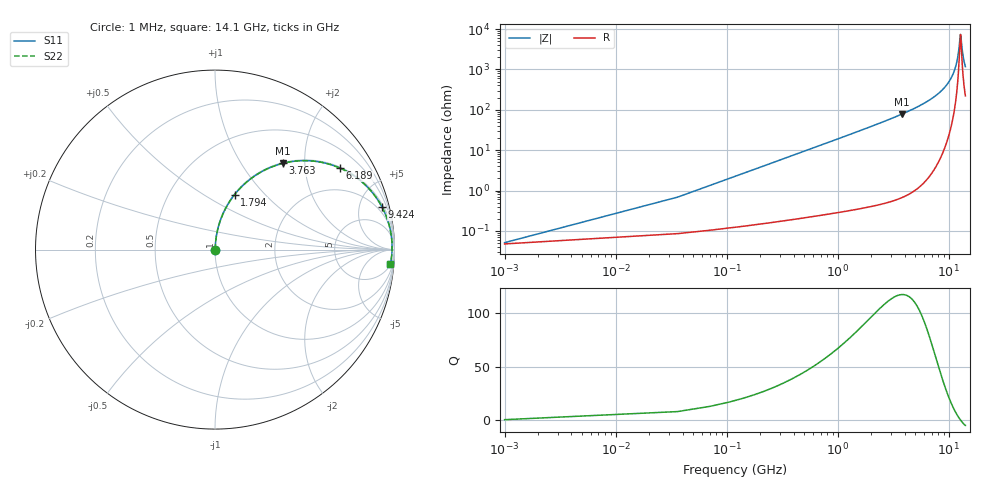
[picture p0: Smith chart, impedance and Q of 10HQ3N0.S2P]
! Coilcraft 1008HQ-3N0 Chip Inductor
! 10 July 2002
# MHZ S MA R 50
!Freq  MagS11  AngS11  MagS21  AngS21  MagS12  AngS12  MagS22  AngS22
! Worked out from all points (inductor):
!   402 points, 1 MHz to 14.1 GHz, reference 50 ohm
!   read as one part in series: L = 3 nH near 71.32 MHz
!   highest Q = 117 at 3.763 GHz (marker M1), where L = 3.29 nH
!   self-resonance near 12.73 GHz
!   S11 on the Smith chart (normalised r, x): 1 MHz: 1.00, +0.00; 1.794 GHz: 1.01, +0.69; 3.763 GHz: 1.01, +1.55; 6.189 GHz: 1.03, +3.05; 9.424 GHz: 1.28, +7.83; 14.1 GHz: 5, -23
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1  0.0005117 21.6  0.9995 -0.0  0.9995 -0.0  0.0005117 21.6
106.48  0.02008 85.5  0.9986 -1.1  0.9986 -1.1  0.02008 85.5
141.64  0.02669 85.7  0.9983 -1.5  0.9983 -1.5  0.02669 85.7
211.96  0.0399 85.6  0.9977 -2.3  0.9977 -2.3  0.0399 85.6
352.6  0.06627 84.6  0.996 -3.8  0.996 -3.8  0.06627 84.6
563.56  0.1056 82.7  0.9922 -6.1  0.9922 -6.1  0.1056 82.7
880  0.164 79.6  0.9838 -9.4  0.9838 -9.4  0.164 79.6
1301.92  0.24 75.4  0.9677 -13.9  0.9677 -13.9  0.24 75.4
1794.16  0.3251 70.4  0.9421 -19.0  0.9421 -19.0  0.3251 70.4
2356.72  0.4164 64.8  0.9052 -24.6  0.9052 -24.6  0.4164 64.8
3763.12  0.6111 51.8  0.7864 -37.7  0.7864 -37.7  0.6111 51.8
4712.44  0.714 43.9  0.6939 -45.6  0.6939 -45.6  0.714 43.9
6189.16  0.8322 33.0  0.5451 -56.3  0.5451 -56.3  0.8322 33.0
7068.16  0.8822 27.3  0.4585 -61.9  0.4585 -61.9  0.8822 27.3
9423.88  0.9608 14.2  0.2453 -73.8  0.2453 -73.8  0.9608 14.2
10830.28  0.9806 7.7  0.134 -77.8  0.134 -77.8  0.9806 7.7
11779.6  0.986 3.7  0.06593 -75.9  0.06593 -75.9  0.986 3.7
12166.36  0.9868 2.2  0.04031 -69.8  0.04031 -69.8  0.9868 2.2
12623.44  0.9867 0.5  0.01549 -30.9  0.01549 -30.9  0.9867 0.5
12764.08  0.9865 -0.1  0.0135 4.4  0.0135 4.4  0.9865 -0.1
13396.96  0.9846 -2.3  0.0432 68.0  0.0432 68.0  0.9846 -2.3
14100  0.9808 -4.7  0.08385 74.4  0.08385 74.4  0.9808 -4.7
